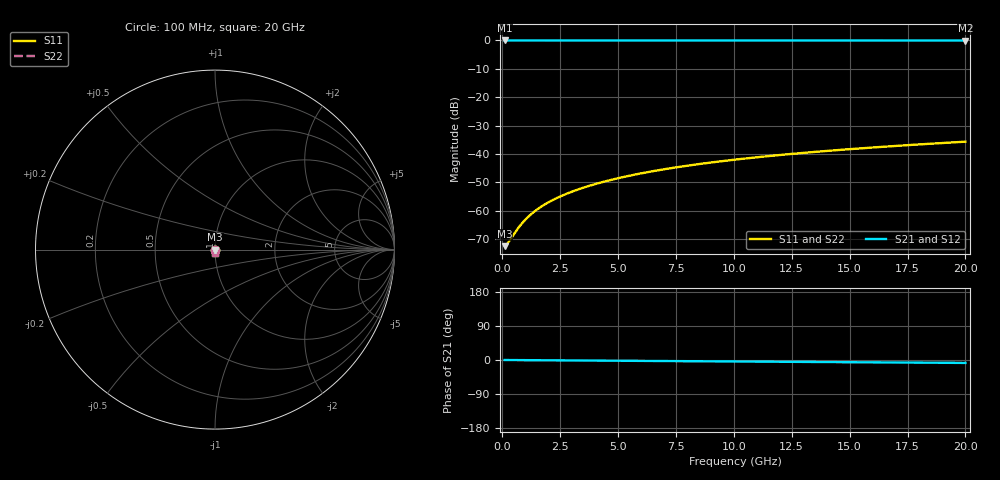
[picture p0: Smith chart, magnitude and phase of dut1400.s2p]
! Touchstone file exported from HFSS 2026.1.0
!  File:  C:/ffzhzh/LocalFiles/Ansys_Project_Files/temp_train_TSV_1400_1783196819_22436.aedt
!  Generated:  04:28:34 AM Jul  5, 2026
!  Design:  TSV
!  Project:  temp_train_TSV_1400_1783196819_22436
! Variables:
!  h_bsmrdl = 2um
!  h_ox = 20um
!  h_rdl = 5um
!  h_sub = 81.78um
!  h_tmrdl = 5um
!  h_tsv = 81.78um
!  h_via = 3um
!  l_bsmrdl = 300um
!  l_sub = 414.02um
!  l_tmrdl = 200um
!  m_sub = 200um
!  pitch = 25.3um
!  r_tsv = 7.01um
!  s_tmrdl = 10um
!  w_bsmrdl = 18um
!  w_sub = 500um
!  w_tmrdl = 12um
!  x_tsv_center1 = 206um
!  x_tsv_center2 = 524um
!  x_tsv_center3 = 736um
!  x_tsv_center4 = 1054um
!  x_tsv_center5 = 1266um
!  x_tsv_center6 = 1584um
# GHz S MA R 50.000000
! Terminal data exported
! Port[1] = TSV1_1_T1
! Port[2] = TSV1_1_T2
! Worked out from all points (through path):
!   200 points, 100 MHz to 20 GHz, reference 50 ohm
!   highest |S21| = 0.00 dB at 100 MHz (marker M1); lowest = 0.0 dB at 20 GHz (marker M2)
!   group delay of S21, straight-line fit = 1.07 ps
!   lowest |S11| = -72.5 dB at 100 MHz (marker M3), VSWR 1.00, Z = 50 - j0.00257 ohm
!   |S11| at or under -10 dB: start of sweep to end of sweep
!   |S22| runs from -72.5 to -35.7 dB; largest |S21 - S12| = 4.7e-15
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0.1  0.0002366 -6.2  0.9998 -0.0  0.9998 -0.0  0.0002366 -6.2
! Gamma 0 0 0 0
! Port Impedance 50 0 50 0
0.2  0.0002576 -12.5  0.9997 -0.1  0.9997 -0.1  0.0002576 -12.5
0.3  0.0002907 -18.6  0.9997 -0.1  0.9997 -0.1  0.0002907 -18.6
0.6  0.0004406 -34.7  0.9996 -0.2  0.9996 -0.2  0.0004406 -34.7
0.7  0.0005011 -39.0  0.9996 -0.3  0.9996 -0.3  0.0005011 -39.0
0.9  0.0006303 -46.2  0.9996 -0.4  0.9996 -0.4  0.0006303 -46.2
1.2  0.0008353 -54.1  0.9995 -0.5  0.9995 -0.5  0.0008353 -54.1
1.5  0.001047 -59.6  0.9995 -0.6  0.9995 -0.6  0.001047 -59.6
1.9  0.001336 -64.6  0.9994 -0.8  0.9994 -0.8  0.001336 -64.6
2.4  0.001704 -68.7  0.9994 -1.0  0.9994 -1.0  0.001704 -68.7
2.9  0.00208 -71.5  0.9993 -1.1  0.9993 -1.1  0.00208 -71.5
3.5  0.00254 -73.9  0.9992 -1.4  0.9992 -1.4  0.00254 -73.9
4.2  0.00309 -75.9  0.9992 -1.7  0.9992 -1.7  0.00309 -75.9
5  0.003731 -77.7  0.9991 -2.0  0.9991 -2.0  0.003731 -77.7
5.9  0.004465 -79.3  0.999 -2.3  0.999 -2.3  0.004465 -79.3
6.8  0.005208 -80.6  0.9989 -2.7  0.9989 -2.7  0.005208 -80.6
8.3  0.006461 -82.5  0.9988 -3.2  0.9988 -3.2  0.006461 -82.5
10.1  0.007976 -84.4  0.9986 -3.9  0.9986 -3.9  0.007976 -84.4
11.7  0.009329 -85.8  0.9985 -4.5  0.9985 -4.5  0.009329 -85.8
13.4  0.01077 -87.2  0.9984 -5.2  0.9984 -5.2  0.01077 -87.2
16.7  0.01359 -89.3  0.9982 -6.5  0.9982 -6.5  0.01359 -89.3
20  0.01644 -91.2  0.998 -7.7  0.998 -7.7  0.01644 -91.2
